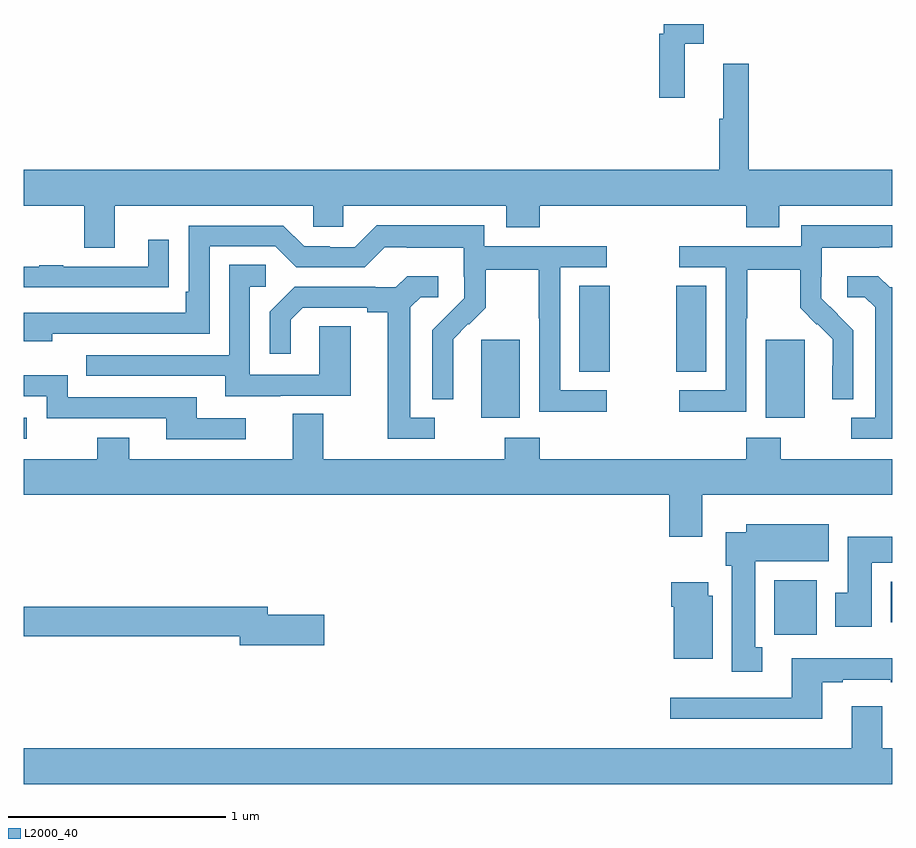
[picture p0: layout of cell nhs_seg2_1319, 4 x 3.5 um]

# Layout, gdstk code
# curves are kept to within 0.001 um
import gdstk
lib = gdstk.Library(unit=1e-6, precision=1e-09)
def R(c, l, rs):  # rectangles x0, y0, x1, y1
    for r in rs: c.add(gdstk.rectangle(r[:2], r[2:], *l))
def P(c, l, *ps):  # polygons
    for p in ps: c.add(gdstk.Polygon(p, *l))
L2000_40 = (2000, 40)

nhs_seg2_1319 = lib.new_cell('nhs_seg2_1319')
R(nhs_seg2_1319, L2000_40, [(182.457,650.988,182.653,651.238), (182.993,651.044,183,651.232), (179,651.891,179.014,651.987), (181.106,651.986,181.285,652.347), (182.417,651.986,182.596,652.347), (181.559,652.198,181.698,652.595), (182.005,652.198,182.143,652.595)])
P(nhs_seg2_1319, L2000_40, [(182.045,653.708),(182.131,653.708),(182.131,653.8),(181.947,653.8),(181.947,653.756),(181.927,653.756),(181.927,653.46),(182.045,653.46)],
  [(182.327,652.865),(182.479,652.865),(182.479,652.964),(183,652.964),(183,653.128),(182.339,653.128),(182.339,653.617),(182.222,653.617),(182.222,653.364),(182.203,653.364),(182.203,653.128),(179,653.128),(179,652.964),(179.279,652.964),(179.279,652.77),(179.419,652.77),(179.419,652.964),(180.333,652.964),(180.333,652.866),(180.471,652.866),(180.471,652.964),(181.223,652.964),(181.223,652.865),(181.376,652.865),(181.376,652.964),(182.327,652.964)],
  [(181.684,652.113),(181.47,652.113),(181.47,652.68),(181.684,652.68),(181.684,652.776),(181.122,652.776),(181.122,652.873),(180.625,652.873),(180.525,652.773),(180.41,652.773),(180.41,652.776),(180.291,652.776),(180.195,652.872),(179.76,652.872),(179.76,652.567),(179.747,652.567),(179.747,652.47),(179,652.47),(179,652.34),(179.132,652.34),(179.132,652.374),(179.856,652.374),(179.856,652.776),(180.159,652.776),(180.255,652.68),(180.57,652.68),(180.663,652.773),(180.763,652.773),(180.763,652.769),(181.026,652.769),(181.026,652.635),(181.028,652.635),(181.028,652.538),(180.882,652.39),(180.882,652.072),(180.978,652.072),(180.977,652.349),(181.047,652.419),(181.05,652.416),(181.127,652.493),(181.127,652.668),(181.372,652.668),(181.372,652.444),(181.374,652.444),(181.374,652.015),(181.684,652.015)],
  [(182.328,652.444),(182.331,652.444),(182.331,652.668),(182.575,652.668),(182.575,652.493),(182.652,652.416),(182.655,652.419),(182.726,652.349),(182.726,652.226),(182.724,652.226),(182.724,652.072),(182.82,652.072),(182.82,652.39),(182.674,652.538),(182.674,652.635),(182.676,652.635),(182.676,652.769),(182.939,652.769),(182.939,652.773),(183,652.773),(183,652.873),(182.58,652.873),(182.58,652.776),(182.019,652.776),(182.019,652.68),(182.232,652.68),(182.232,652.113),(182.019,652.113),(182.019,652.015),(182.328,652.015)],
  [(179.567,652.588),(179.669,652.588),(179.669,652.807),(179.573,652.807),(179.573,652.683),(179.183,652.683),(179.183,652.688),(179.071,652.688),(179.071,652.683),(179,652.683),(179,652.587),(179.567,652.587)],
  [(180.181,652.089),(180.505,652.089),(180.505,652.409),(180.36,652.409),(180.36,652.185),(180.042,652.185),(180.042,652.59),(180.115,652.59),(180.115,652.691),(179.946,652.691),(179.946,652.275),(179.287,652.275),(179.287,652.179),(179.927,652.179),(179.927,652.085),(180.181,652.085)],
  [(180.892,651.987),(180.781,651.987),(180.781,652.495),(180.828,652.542),(180.91,652.542),(180.91,652.639),(180.766,652.639),(180.714,652.587),(180.62,652.587),(180.62,652.59),(180.248,652.59),(180.132,652.474),(180.132,652.281),(180.229,652.281),(180.229,652.437),(180.286,652.494),(180.581,652.494),(180.581,652.472),(180.677,652.472),(180.677,651.891),(180.892,651.891)],
  [(183,652.587),(182.988,652.587),(182.936,652.639),(182.793,652.639),(182.793,652.542),(182.874,652.542),(182.921,652.495),(182.921,651.987),(182.811,651.987),(182.811,651.891),(183,651.891)],
  [(180.022,651.984),(179.797,651.984),(179.797,652.08),(179.202,652.08),(179.202,652.183),(179,652.183),(179,652.086),(179.106,652.086),(179.106,651.984),(179.657,651.984),(179.657,651.888),(180.022,651.888)],
  [(182.125,651.632),(183,651.632),(183,651.796),(182.487,651.796),(182.487,651.895),(182.327,651.895),(182.327,651.796),(181.376,651.796),(181.376,651.895),(181.216,651.895),(181.216,651.796),(180.379,651.796),(180.379,652.004),(180.239,652.004),(180.239,651.796),(179.485,651.796),(179.485,651.895),(179.338,651.895),(179.338,651.796),(179,651.796),(179,651.632),(181.973,651.632),(181.973,651.438),(182.125,651.438)],
  [(182.401,650.929),(182.368,650.929),(182.368,651.326),(182.707,651.326),(182.707,651.496),(182.327,651.496),(182.327,651.46),(182.234,651.46),(182.234,651.306),(182.261,651.306),(182.261,650.817),(182.401,650.817)],
  [(182.905,651.32),(183,651.32),(183,651.438),(182.795,651.438),(182.795,651.18),(182.738,651.18),(182.738,651.024),(182.905,651.024)],
  [(182.173,651.168),(182.152,651.168),(182.152,651.229),(181.982,651.229),(181.982,651.116),(181.994,651.116),(181.994,650.876),(182.173,650.876)],
  [(180.385,651.08),(180.124,651.08),(180.124,651.116),(179,651.116),(179,650.98),(179.996,650.98),(179.996,650.938),(180.385,650.938)],
  [(182.677,650.769),(182.773,650.769),(182.773,650.781),(182.993,650.781),(182.993,650.769),(183,650.769),(183,650.878),(182.537,650.878),(182.537,650.697),(181.977,650.697),(181.977,650.6),(182.677,650.6)],
  [(183,650.464),(182.953,650.464),(182.953,650.659),(182.813,650.659),(182.813,650.464),(179,650.464),(179,650.3),(183,650.3)])

lib.write_gds('nhs_seg2_1319.gds')
